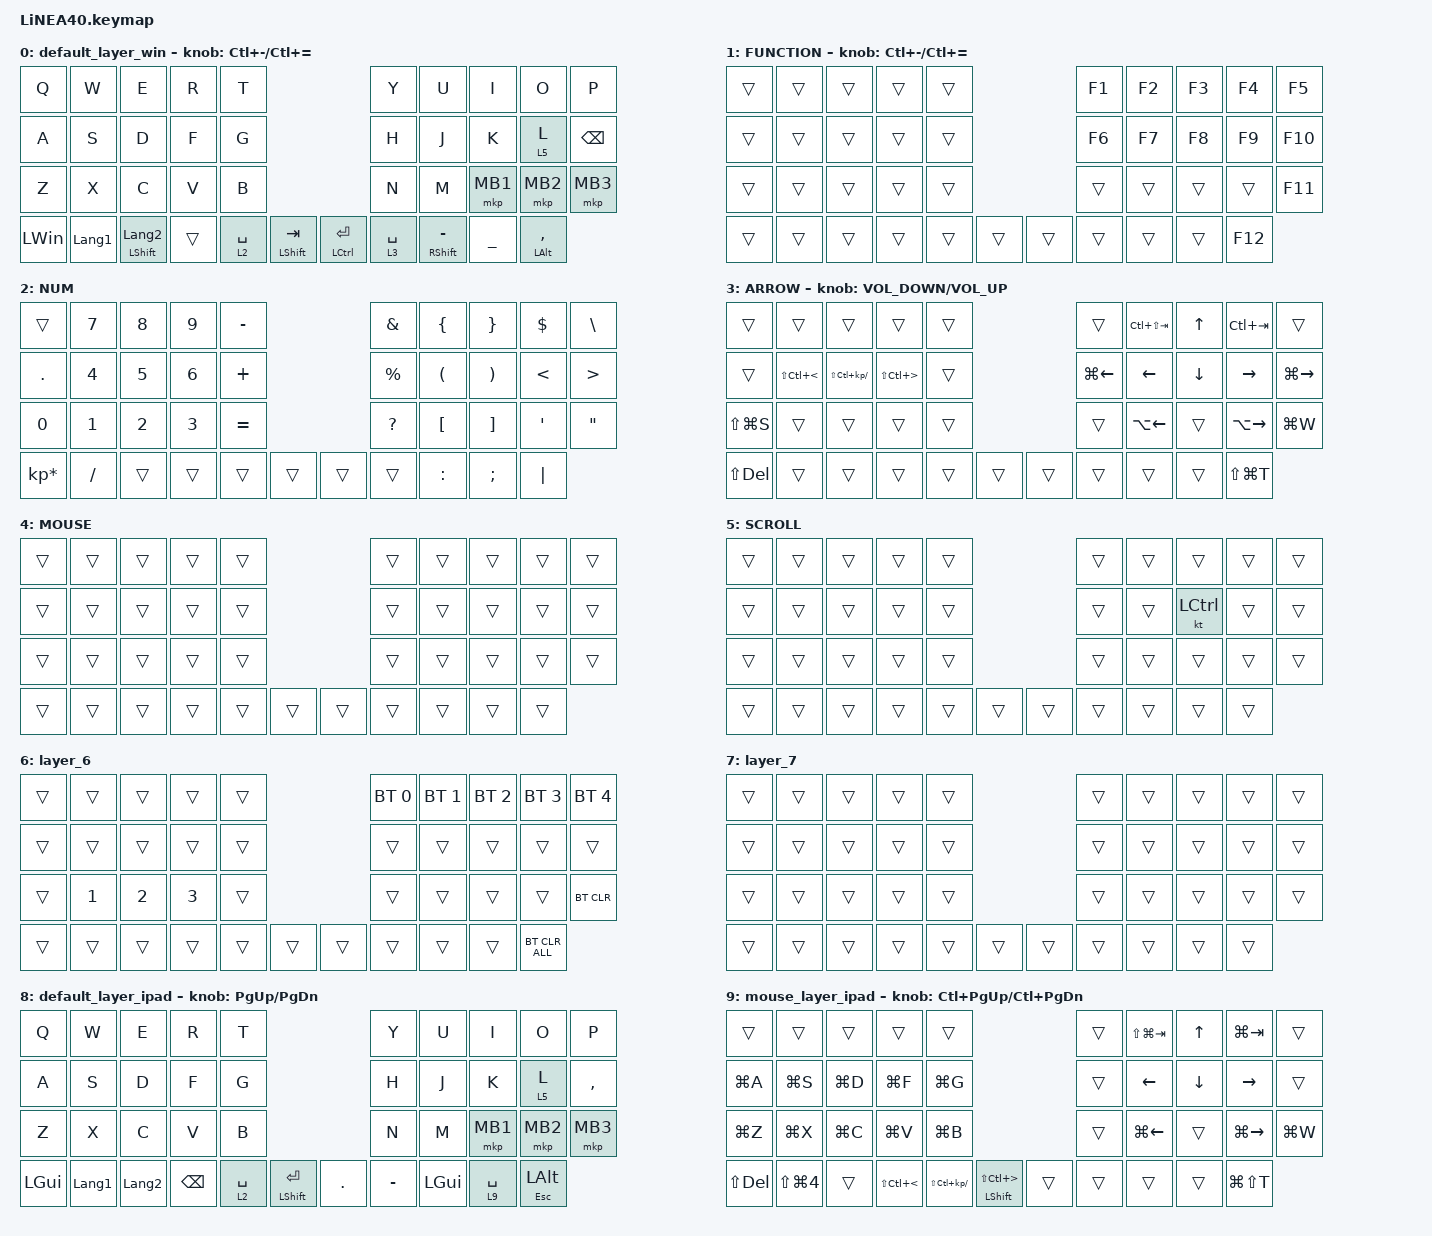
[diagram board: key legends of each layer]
#define ZMK_POINTING_DEFAULT_SCRL_VAL 150

#include <dt-bindings/zmk/input_transform.h>
#include <input/processors.dtsi>
#include <zephyr/dt-bindings/input/input-event-codes.h>
#include <behaviors.dtsi>
#include <dt-bindings/zmk/bt.h>
#include <dt-bindings/zmk/keys.h>
#include <dt-bindings/zmk/pointing.h>

#define FUNCTION 1
#define NUM 2
#define ARROW 3
#define MOUSE 4
#define SCROLL 5
#define WIRELESS 6

//mouse cursol

&mmv {
    delay-ms = <20>;
    trigger-period-ms = <5>;
    time-to-max-speed-ms = <100>;
    acceleration-exponent = <2>;
};

//mouse scroll

&msc {
    delay-ms = <3>;
    trigger-period-ms = <3>;
    time-to-max-speed-ms = <100>;
    acceleration-exponent = <0>;
};

/ {
    input_processors {
        zip_wheel_scaler: zip_wheel_scaler {
            compatible = "zmk,input-processor-scaler";
            #input-processor-cells = <2>;
            type = <INPUT_EV_REL>;
            codes = <INPUT_REL_WHEEL>;
            track-remainders;
        };
    };
};

&msc_input_listener {
    speed_up {
        layers = <FUNCTION>;
        input-processors = <&zip_wheel_scaler 3 1>; //スクロールを3倍速にする
    };
};

&trackball_listener {
    scroller {
        layers = <SCROLL>;
        input-processors =
            <&zip_xy_transform INPUT_TRANSFORM_Y_INVERT>,
            //スクロール方向を逆転,,,,,,,
            <&zip_xy_to_scroll_mapper>;
    };
};

/ {
    combos {
        compatible = "zmk,combos";

        connect0 {
            bindings = <&connect_to_layer_0>;
            key-positions = <0 1>;
        };

        connect1 {
            bindings = <&connect_to_layer_1>;
            key-positions = <1 2>;
        };

        connect2 {
            bindings = <&connect_to_layer_2>;
            key-positions = <0 1 2>;
        };

        exclamation {
            bindings = <&kp EXCL>;
            key-positions = <15 16>;
        };

        at_sign {
            bindings = <&kp AT_SIGN>;
            key-positions = <25 26>;
        };

        escape {
            bindings = <&kp ESCAPE>;
            key-positions = <9 8>;
        };
    };

    macros {
        connect_to_layer_0: to_layer_0 {
            compatible = "zmk,behavior-macro";
            #binding-cells = <0>;
            bindings = <&bt BT_SEL 0 &to 0>;
            label = "TO_LAYER_0";
        };

        connect_to_layer_1: connect_to_layer_1 {
            compatible = "zmk,behavior-macro";
            #binding-cells = <0>;
            bindings = <&bt BT_SEL 1 &to 0>;
            label = "CONNECT_TO_LAYER_1";
        };

        connect_to_layer_2: connect_to_layer_2 {
            compatible = "zmk,behavior-macro";
            #binding-cells = <0>;
            bindings = <&bt BT_SEL 2 &to 8>;
            label = "CONNECT_TO_LAYER_2";
        };
    };

    behaviors {
        re_kp: sensor_rotate_kp {
            compatible = "zmk,behavior-sensor-rotate-var";
            #sensor-binding-cells = <2>;
            bindings = <&kp>, <&kp>;
        };

        lt_to_layer_0: lt_to_layer_0 {
            compatible = "zmk,behavior-hold-tap";
            label = "LAYER_TAP_TO_0";
            bindings = <&mo>, <&connect_to_layer_0>;

            #binding-cells = <2>;
            tapping-term-ms = <200>;
        };
    };

    keymap {
        compatible = "zmk,keymap";

        default_layer_win {
            bindings = <
&kp Q         &kp W           &kp E                      &kp R   &kp T                                                      &kp Y        &kp U  &kp I                  &kp O      &kp P
&kp A         &kp S           &kp D                      &kp F   &kp G                                                      &kp H        &kp J  &kp K                  &lt 5 L    &kp BACKSPACE
&kp Z         &kp X           &kp C                      &kp V   &kp B                                                      &kp N        &kp M  &mkp MB1               &mkp MB2   &mkp MB3
&kp LEFT_WIN  &kp LANGUAGE_1  &mt LEFT_SHIFT LANGUAGE_2  &trans  &lt 2 SPACE  &mt LEFT_SHIFT TAB    &mt LEFT_CONTROL ENTER  &lt 3 SPACE         &mt RIGHT_SHIFT MINUS  &kp UNDER  &mt LEFT_ALT COMMA
            >;

            sensor-bindings = <&re_kp LC(MINUS) LC(EQUAL)>;
        };

        FUNCTION {
            bindings = <
&trans  &trans  &trans  &trans  &trans                    &kp F1  &kp F2  &kp F3  &kp F4  &kp F5
&trans  &trans  &trans  &trans  &trans                    &kp F6  &kp F7  &kp F8  &kp F9  &kp F10
&trans  &trans  &trans  &trans  &trans                    &trans  &trans  &trans  &trans  &kp F11
&trans  &trans  &trans  &trans  &trans  &trans    &trans  &trans          &trans  &trans  &kp F12
            >;

            sensor-bindings = <&re_kp LC(MINUS) LC(EQUAL)>;
        };

        NUM {
            bindings = <
&trans           &kp NUMBER_7  &kp NUMBER_8  &kp NUMBER_9  &kp MINUS                    &kp AMPERSAND  &kp LEFT_BRACE        &kp RIGHT_BRACE        &kp DOLLAR        &kp BACKSLASH
&kp DOT          &kp NUMBER_4  &kp NUMBER_5  &kp NUMBER_6  &kp PLUS                     &kp PERCENT    &kp LEFT_PARENTHESIS  &kp RIGHT_PARENTHESIS  &kp LESS_THAN     &kp GREATER_THAN
&kp NUMBER_0     &kp NUMBER_1  &kp NUMBER_2  &kp NUMBER_3  &kp EQUAL                    &kp QUESTION   &kp LEFT_BRACKET      &kp RIGHT_BRACKET      &kp SINGLE_QUOTE  &kp DOUBLE_QUOTES
&kp KP_MULTIPLY  &kp SLASH     &trans        &trans        &trans     &trans    &trans  &trans                               &kp COLON              &kp SEMICOLON     &kp PIPE
            >;
        };

        ARROW {
            bindings = <
&trans          &trans                 &trans                &trans                    &trans                    &trans              &kp LC(LS(TAB))     &kp UP_ARROW    &kp LC(TAB)          &trans
&trans          &kp LS(LC(LESS_THAN))  &kp LS(LC(KP_SLASH))  &kp LS(LC(GREATER_THAN))  &trans                    &kp LG(LEFT_ARROW)  &kp LEFT_ARROW      &kp DOWN_ARROW  &kp RIGHT            &kp LG(RIGHT_ARROW)
&kp LS(LG(S))   &trans                 &trans                &trans                    &trans                    &trans              &kp LA(LEFT_ARROW)  &trans          &kp LA(RIGHT_ARROW)  &kp LG(W)
&kp LS(DELETE)  &trans                 &trans                &trans                    &trans  &trans    &trans  &trans                                  &trans          &trans               &kp LS(LG(T))
            >;

            sensor-bindings = <&re_kp C_VOLUME_DOWN C_VOLUME_UP>;
        };

        MOUSE {
            bindings = <
&trans  &trans  &trans  &trans  &trans                    &trans  &trans  &trans  &trans  &trans
&trans  &trans  &trans  &trans  &trans                    &trans  &trans  &trans  &trans  &trans
&trans  &trans  &trans  &trans  &trans                    &trans  &trans  &trans  &trans  &trans
&trans  &trans  &trans  &trans  &trans  &trans    &trans  &trans          &trans  &trans  &trans
            >;
        };

        SCROLL {
            bindings = <
&trans  &trans  &trans  &trans  &trans                    &trans  &trans  &trans            &trans  &trans
&trans  &trans  &trans  &trans  &trans                    &trans  &trans  &kt LEFT_CONTROL  &trans  &trans
&trans  &trans  &trans  &trans  &trans                    &trans  &trans  &trans            &trans  &trans
&trans  &trans  &trans  &trans  &trans  &trans    &trans  &trans          &trans            &trans  &trans
            >;
        };

        layer_6 {
            bindings = <
&trans  &trans        &trans        &trans        &trans                    &bt BT_SEL 0  &bt BT_SEL 1  &bt BT_SEL 2  &bt BT_SEL 3  &bt BT_SEL 4
&trans  &trans        &trans        &trans        &trans                    &trans        &trans        &trans        &trans        &trans
&trans  &kp NUMBER_1  &kp NUMBER_2  &kp NUMBER_3  &trans                    &trans        &trans        &trans        &trans        &bt BT_CLR
&trans  &trans        &trans        &trans        &trans  &trans    &trans  &trans                      &trans        &trans        &bt BT_CLR_ALL
            >;
        };

        layer_7 {
            bindings = <
&trans  &trans  &trans  &trans  &trans                    &trans  &trans  &trans  &trans  &trans
&trans  &trans  &trans  &trans  &trans                    &trans  &trans  &trans  &trans  &trans
&trans  &trans  &trans  &trans  &trans                    &trans  &trans  &trans  &trans  &trans
&trans  &trans  &trans  &trans  &trans  &trans    &trans  &trans          &trans  &trans  &trans
            >;
        };

        default_layer_ipad {
            bindings = <
&kp Q         &kp W           &kp E           &kp R          &kp T                                         &kp Y      &kp U  &kp I         &kp O        &kp P
&kp A         &kp S           &kp D           &kp F          &kp G                                         &kp H      &kp J  &kp K         &lt 5 L      &kp COMMA
&kp Z         &kp X           &kp C           &kp V          &kp B                                         &kp N      &kp M  &mkp MB1      &mkp MB2     &mkp MB3
&kp LEFT_GUI  &kp LANGUAGE_1  &kp LANGUAGE_2  &kp BACKSPACE  &lt 2 SPACE  &mt LEFT_SHIFT ENTER    &kp DOT  &kp MINUS         &kp LEFT_GUI  &lt 9 SPACE  &mt ESCAPE LEFT_ALT
            >;

            sensor-bindings = <&inc_dec_kp PG_UP PAGE_DOWN>;
        };

        mouse_layer_ipad {
            bindings = <
&trans          &trans                &trans     &trans                 &trans                                                               &trans  &kp LS(LG(TAB))     &kp UP_ARROW    &kp LG(TAB)          &trans
&kp LG(A)       &kp LG(S)             &kp LG(D)  &kp LG(F)              &kp LG(G)                                                            &trans  &kp LEFT_ARROW      &kp DOWN_ARROW  &kp RIGHT            &trans
&kp LG(Z)       &kp LG(X)             &kp LG(C)  &kp LG(V)              &kp LG(B)                                                            &trans  &kp LG(LEFT_ARROW)  &trans          &kp LG(RIGHT_ARROW)  &kp LG(W)
&kp LS(DELETE)  &kp LS(LG(NUMBER_4))  &trans     &kp LS(LC(LESS_THAN))  &kp LS(LC(KP_SLASH))  &mt LEFT_SHIFT LS(LC(GREATER_THAN))    &trans  &trans                      &trans          &trans               &kp LG(LS(T))
            >;

            sensor-bindings = <&inc_dec_kp LC(PAGE_UP) LC(PAGE_DOWN)>;
        };
    };

    conditional_layers { compatible = "zmk,conditional-layers"; };
};
